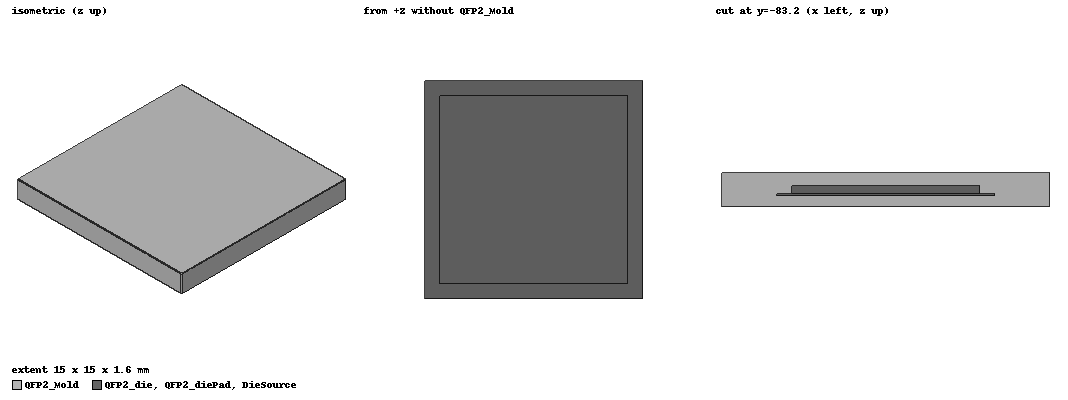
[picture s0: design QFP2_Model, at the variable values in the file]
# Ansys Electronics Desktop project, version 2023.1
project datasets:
  $Si_Typical_5: (-273.15, 0.23376623) (-196.15, 0.23376623) (99.85, 1) (726.85, 1)
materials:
  Al-Extruded: thermal_conductivity=205 mass_density=2800 specific_heat=900 thermal_material_type=Solid
  Cu-Brass: thermal_modifier{Property=specific_heat free_form_value="if(Temp > 1000cel, 1, if(Temp < -273.15cel, 1, 1))"} thermal_conductivity=130 mass_density=8500 specific_heat=390 thermal_material_type=Solid
  Epoxy Resin-Typical: thermal_conductivity=0.2 mass_density=1120 specific_heat=1400 thermal_material_type=Solid
  Mold_material: thermal_conductivity=0.8 mass_density=1900 specific_heat=795 thermal_material_type=Solid
  Si-Typical: thermal_modifier{Property=specific_heat free_form_value=pwl($Si_Typical_5,Temp)} thermal_conductivity=180 mass_density=2330 specific_heat=770 thermal_material_type=Solid
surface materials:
  Steel-oxidised-surface: surface_emissivity=0.8

design QFP2_Model (Icepak, SteadyState TemperatureAndFlow, model units mm)
options: Default_Fluid_Material=air Default_Solid_Material=Al-Extruded Default_Surface_Material=Steel-oxidised-surface AmbientTemperature=20cel AmbientPressure=0n_per_meter_sq AmbientRadiationTemperature=20cel Gravity_Vector_CS_ID=Global Gravity_Vector_Axis=Z Positive=false Altitude=0meter
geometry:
  coordinate_system Fan_Coord = origin=(-25mm, -20mm, 10mm) Euler Angle ZYZ phi=0deg theta=0deg psi=0deg
  QFP2_Mold [Mold_material] = box(corner=(0.0mm+-7.5mm, 0.0mm+-7.5mm, 0.0mm+0.0mm), size=(15mm, 15mm, 1.6mm)) in Fan_Coord
  QFP2_Mold.move(40.2mm, -3.2mm, -8.45314mm) in Fan_Coord
  QFP2_Mold.move(30mm, -60mm, 0mm) in Fan_Coord
  QFP2_diePad [Cu-Brass] = box(corner=(0.0mm+-7.5mm+ 0.5*15.0mm- 0.5*10.0mm, 0.0mm+-7.5mm+ 0.5*15.0mm- 0.5*10.0mm, 0.0mm+0.0mm+ 0.5*1.6mm- 0.5*0.35mm-0.1mm), size=(10mm, 10mm, 0.1mm)) in Fan_Coord
  QFP2_diePad.move(40.2mm, -3.2mm, -8.45314mm) in Fan_Coord
  QFP2_diePad.move(30mm, -60mm, 0mm) in Fan_Coord
  QFP2_die [Si-Typical] = box(corner=(0.0mm+-7.5mm+ 0.5*15.0mm- 0.5*8.56mm, 0.0mm+-7.5mm+ 0.5*15.0mm- 0.5*8.56mm, 0.0mm+0.0mm+ 0.5*1.6mm- 0.5*0.35mm), size=(8.56mm, 8.56mm, 0.35mm)) in Fan_Coord
  QFP2_die.move(40.2mm, -3.2mm, -8.45314mm) in Fan_Coord
  QFP2_die.move(30mm, -60mm, 0mm) in Fan_Coord
  Die_Attach [Si-Typical] = object_from(QFP2_die.face(2 of 6))
  DieSource [Si-Typical] = object_from(QFP2_die.face(1 of 6))
  priority 4: QFP2_diePad, QFP2_die
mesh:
  MeshRegions:  Global{MeshMethod=MesherHD ComputeGap MeshRegionResolution=3 MinGapX=1mm MinGapY=1mm MinGapZ=1mm FacetLevel=3 ProximitySizeFunction CurvatureSizeFunction OptimizePCBMesh}
  MeshOperations:
